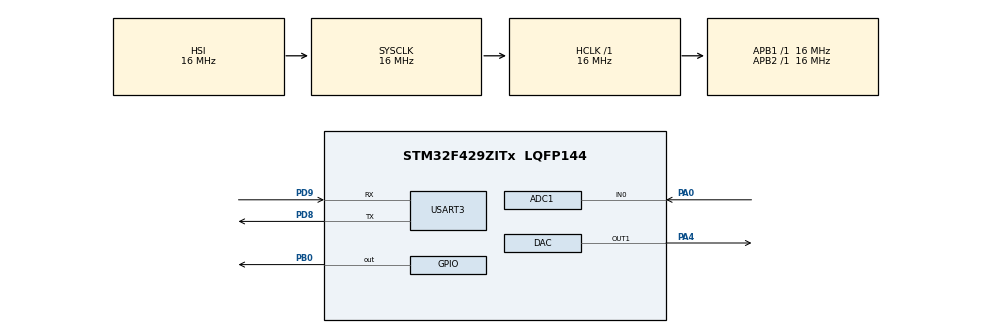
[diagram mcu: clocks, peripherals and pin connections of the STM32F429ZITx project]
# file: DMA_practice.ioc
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ADC1.Channel-0\#ChannelRegularConversion=ADC_CHANNEL_0
ADC1.DMAContinuousRequests=ENABLE
ADC1.ExternalTrigConv=ADC_EXTERNALTRIGCONV_T2_TRGO
ADC1.NbrOfConversionFlag=1
ADC1.Rank-0\#ChannelRegularConversion=1
ADC1.SamplingTime-0\#ChannelRegularConversion=ADC_SAMPLETIME_84CYCLES
ADC1.master=1
DAC.DAC_Trigger=DAC_TRIGGER_T4_TRGO
Dma.ADC1.1.Direction=DMA_PERIPH_TO_MEMORY
Dma.ADC1.1.FIFOMode=DMA_FIFOMODE_DISABLE
Dma.ADC1.1.Instance=DMA2_Stream0
Dma.ADC1.1.MemDataAlignment=DMA_MDATAALIGN_HALFWORD
Dma.ADC1.1.MemInc=DMA_MINC_ENABLE
Dma.ADC1.1.Mode=DMA_NORMAL
Dma.ADC1.1.PeriphDataAlignment=DMA_PDATAALIGN_HALFWORD
Dma.ADC1.1.PeriphInc=DMA_PINC_DISABLE
Dma.ADC1.1.Priority=DMA_PRIORITY_LOW
Dma.DAC1.0.Direction=DMA_MEMORY_TO_PERIPH
Dma.DAC1.0.FIFOMode=DMA_FIFOMODE_DISABLE
Dma.DAC1.0.Instance=DMA1_Stream5
Dma.DAC1.0.MemDataAlignment=DMA_MDATAALIGN_HALFWORD
Dma.DAC1.0.MemInc=DMA_MINC_ENABLE
Dma.DAC1.0.Mode=DMA_NORMAL
Dma.DAC1.0.PeriphDataAlignment=DMA_PDATAALIGN_HALFWORD
Dma.DAC1.0.PeriphInc=DMA_PINC_DISABLE
Dma.DAC1.0.Priority=DMA_PRIORITY_LOW
Dma.Request0=DAC1
Dma.Request1=ADC1
Dma.Request2=USART3_TX
Dma.USART3_TX.2.Direction=DMA_MEMORY_TO_PERIPH
Dma.USART3_TX.2.FIFOMode=DMA_FIFOMODE_DISABLE
Dma.USART3_TX.2.Instance=DMA1_Stream3
Dma.USART3_TX.2.MemDataAlignment=DMA_MDATAALIGN_BYTE
Dma.USART3_TX.2.MemInc=DMA_MINC_ENABLE
Dma.USART3_TX.2.Mode=DMA_NORMAL
Dma.USART3_TX.2.PeriphDataAlignment=DMA_PDATAALIGN_BYTE
Dma.USART3_TX.2.PeriphInc=DMA_PINC_DISABLE
Dma.USART3_TX.2.Priority=DMA_PRIORITY_LOW
Mcu.Family=STM32F4
Mcu.Name=STM32F429ZITx
Mcu.Package=LQFP144
NVIC.DMA1_Stream3_IRQn=true\:0\:0\:false\:false\:true\:false\:true\:true
NVIC.DMA1_Stream5_IRQn=true\:0\:0\:false\:false\:true\:false\:true\:true
NVIC.DMA2_Stream0_IRQn=true\:0\:0\:false\:false\:true\:false\:true\:true
NVIC.PriorityGroup=NVIC_PRIORITYGROUP_4
PA0/WKUP.Signal=ADCx_IN0
PA4.Signal=COMP_DAC1_group
PB0.Signal=GPIO_Output
PD8.Mode=Asynchronous
PD8.Signal=USART3_TX
PD9.Mode=Asynchronous
PD9.Signal=USART3_RX
ProjectManager.HeapSize=0x200
ProjectManager.StackSize=0x400
ProjectManager.TargetToolchain=STM32CubeIDE
RCC.AHBFreq_Value=16000000
RCC.APB1Freq_Value=16000000
RCC.APB2Freq_Value=16000000
RCC.CortexFreq_Value=16000000
RCC.HSE_VALUE=25000000
RCC.HSI_VALUE=16000000
RCC.LSE_VALUE=32768
RCC.SYSCLKFreq_VALUE=16000000
RCC.VCOOutputFreq_Value=192000000
SH.ADCx_IN0.0=ADC1_IN0,IN0
SH.COMP_DAC1_group.0=DAC_OUT1,DAC_OUT1
TIM2.Period=999
TIM2.Prescaler=1
TIM2.TIM_MasterOutputTrigger=TIM_TRGO_UPDATE
TIM4.Period=999
TIM4.Prescaler=1
TIM4.TIM_MasterOutputTrigger=TIM_TRGO_UPDATE
USART3.VirtualMode=VM_ASYNC
VP_TIM2_VS_ClockSourceINT.Mode=Internal
VP_TIM4_VS_ClockSourceINT.Mode=Internal
board=custom

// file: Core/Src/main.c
/* USER CODE BEGIN Header */
/**
  ******************************************************************************
  * @file           : main.c
  * @brief          : Main program body
  ******************************************************************************
  * @attention
  *
  * Copyright (c) 2024 STMicroelectronics.
  * All rights reserved.
  *
  * This software is licensed under terms that can be found in the LICENSE file
  * in the root directory of this software component.
  * If no LICENSE file comes with this software, it is provided AS-IS.
  *
  ******************************************************************************
  */
/* USER CODE END Header */
#include "main.h"

/* USER CODE BEGIN Includes */
// 한국어 주석 테스트
#include "data.h"
/* USER CODE END Includes */

ADC_HandleTypeDef hadc1;
DMA_HandleTypeDef hdma_adc1;

DAC_HandleTypeDef hdac;
DMA_HandleTypeDef hdma_dac1;

TIM_HandleTypeDef htim2;
TIM_HandleTypeDef htim4;

UART_HandleTypeDef huart3;
DMA_HandleTypeDef hdma_usart3_tx;

/* USER CODE BEGIN PV */
static uint16_t openb_index;
/* USER CODE END PV */

void SystemClock_Config(void);
static void MX_GPIO_Init(void);
static void MX_DMA_Init(void);
static void MX_DAC_Init(void);
static void MX_TIM4_Init(void);
static void MX_ADC1_Init(void);
static void MX_TIM2_Init(void);
static void MX_USART3_UART_Init(void);

/* USER CODE BEGIN 0 */
uint32_t buf[8000];
/* USER CODE END 0 */

int main(void)
{

  /* MCU Configuration--------------------------------------------------------*/

  /* Reset of all peripherals, Initializes the Flash interface and the Systick. */
  HAL_Init();

  /* Configure the system clock */
  SystemClock_Config();

  /* Initialize all configured peripherals */
  MX_GPIO_Init();
  MX_DMA_Init();
  MX_DAC_Init();
  MX_TIM4_Init();
  MX_ADC1_Init();
  MX_TIM2_Init();
  MX_USART3_UART_Init();
  /* USER CODE BEGIN 2 */
  memset(buf, 'a', 8000);

  if(openb_index < DATA_NUM) {
	  uint16_t positive_data = (uint16_t)abs(openb[openb_index]);
	  uint16_t dac_data = positive_data>>4;

	  HAL_DAC_SetValue(&hdac, DAC_CHANNEL_1, DAC_ALIGN_12B_R, dac_data);
	  HAL_DAC_Start(&hdac, DAC_CHANNEL_1);
	  openb_index++;
  }

//  for(int i = 0; i < DATA_NUM; i++) {
//	  openb[i] = (openb[i] + 32768) >> 4;
//  }
//  HAL_TIM_Base_Start(&htim4);
//  HAL_DAC_Start(&hdac, DAC_CHANNEL_1);
//  HAL_DAC_Start_DMA(&hdac, DAC_CHANNEL_1, (uint32_t*)&openb, DATA_NUM, DAC_ALIGN_12B_R);

  HAL_TIM_Base_Start(&htim2);
  HAL_ADC_Start_DMA(&hadc1, buf, 8000);
  HAL_UART_Transmit_DMA(&huart3, (uint8_t*)&buf, 8000);
  /* USER CODE END 2 */

  /* Infinite loop */
  while (1)
  {

    /* USER CODE BEGIN 3 */
	  //HAL_UART_Transmit_DMA(&huart3, buf, 10000);
	  //HAL_GPIO_TogglePin(GPIOB, GPIO_PIN_0);
  }
  /* USER CODE END 3 */
}

void SystemClock_Config(void)
{
  RCC_OscInitTypeDef RCC_OscInitStruct = {0};
  RCC_ClkInitTypeDef RCC_ClkInitStruct = {0};

  /** Configure the main internal regulator output voltage
  */
  __HAL_RCC_PWR_CLK_ENABLE();
  __HAL_PWR_VOLTAGESCALING_CONFIG(PWR_REGULATOR_VOLTAGE_SCALE3);

  /** Initializes the RCC Oscillators according to the specified parameters
  * in the RCC_OscInitTypeDef structure.
  */
  RCC_OscInitStruct.OscillatorType = RCC_OSCILLATORTYPE_HSI;
  RCC_OscInitStruct.HSIState = RCC_HSI_ON;
  RCC_OscInitStruct.HSICalibrationValue = RCC_HSICALIBRATION_DEFAULT;
  RCC_OscInitStruct.PLL.PLLState = RCC_PLL_NONE;
  if (HAL_RCC_OscConfig(&RCC_OscInitStruct) != HAL_OK)
  {
    Error_Handler();
  }

  /** Initializes the CPU, AHB and APB buses clocks
  */
  RCC_ClkInitStruct.ClockType = RCC_CLOCKTYPE_HCLK|RCC_CLOCKTYPE_SYSCLK
                              |RCC_CLOCKTYPE_PCLK1|RCC_CLOCKTYPE_PCLK2;
  RCC_ClkInitStruct.SYSCLKSource = RCC_SYSCLKSOURCE_HSI;
  RCC_ClkInitStruct.AHBCLKDivider = RCC_SYSCLK_DIV1;
  RCC_ClkInitStruct.APB1CLKDivider = RCC_HCLK_DIV1;
  RCC_ClkInitStruct.APB2CLKDivider = RCC_HCLK_DIV1;

  if (HAL_RCC_ClockConfig(&RCC_ClkInitStruct, FLASH_LATENCY_0) != HAL_OK)
  {
    Error_Handler();
  }
}

static void MX_ADC1_Init(void)
{

  ADC_ChannelConfTypeDef sConfig = {0};

  /** Configure the global features of the ADC (Clock, Resolution, Data Alignment and number of conversion)
  */
  hadc1.Instance = ADC1;
  hadc1.Init.ClockPrescaler = ADC_CLOCK_SYNC_PCLK_DIV2;
  hadc1.Init.Resolution = ADC_RESOLUTION_12B;
  hadc1.Init.ScanConvMode = DISABLE;
  hadc1.Init.ContinuousConvMode = DISABLE;
  hadc1.Init.DiscontinuousConvMode = DISABLE;
  hadc1.Init.ExternalTrigConvEdge = ADC_EXTERNALTRIGCONVEDGE_RISING;
  hadc1.Init.ExternalTrigConv = ADC_EXTERNALTRIGCONV_T2_TRGO;
  hadc1.Init.DataAlign = ADC_DATAALIGN_RIGHT;
  hadc1.Init.NbrOfConversion = 1;
  hadc1.Init.DMAContinuousRequests = ENABLE;
  hadc1.Init.EOCSelection = ADC_EOC_SINGLE_CONV;
  if (HAL_ADC_Init(&hadc1) != HAL_OK)
  {
    Error_Handler();
  }

  /** Configure for the selected ADC regular channel its corresponding rank in the sequencer and its sample time.
  */
  sConfig.Channel = ADC_CHANNEL_0;
  sConfig.Rank = 1;
  sConfig.SamplingTime = ADC_SAMPLETIME_84CYCLES;
  if (HAL_ADC_ConfigChannel(&hadc1, &sConfig) != HAL_OK)
  {
    Error_Handler();
  }

}

static void MX_DAC_Init(void)
{

  DAC_ChannelConfTypeDef sConfig = {0};

  /** DAC Initialization
  */
  hdac.Instance = DAC;
  if (HAL_DAC_Init(&hdac) != HAL_OK)
  {
    Error_Handler();
  }

  /** DAC channel OUT1 config
  */
  sConfig.DAC_Trigger = DAC_TRIGGER_T4_TRGO;
  sConfig.DAC_OutputBuffer = DAC_OUTPUTBUFFER_ENABLE;
  if (HAL_DAC_ConfigChannel(&hdac, &sConfig, DAC_CHANNEL_1) != HAL_OK)
  {
    Error_Handler();
  }

}

static void MX_TIM2_Init(void)
{

  TIM_ClockConfigTypeDef sClockSourceConfig = {0};
  TIM_MasterConfigTypeDef sMasterConfig = {0};

  htim2.Instance = TIM2;
  htim2.Init.Prescaler = 1;
  htim2.Init.CounterMode = TIM_COUNTERMODE_UP;
  htim2.Init.Period = 999;
  htim2.Init.ClockDivision = TIM_CLOCKDIVISION_DIV1;
  htim2.Init.AutoReloadPreload = TIM_AUTORELOAD_PRELOAD_DISABLE;
  if (HAL_TIM_Base_Init(&htim2) != HAL_OK)
  {
    Error_Handler();
  }
  sClockSourceConfig.ClockSource = TIM_CLOCKSOURCE_INTERNAL;
  if (HAL_TIM_ConfigClockSource(&htim2, &sClockSourceConfig) != HAL_OK)
  {
    Error_Handler();
  }
  sMasterConfig.MasterOutputTrigger = TIM_TRGO_UPDATE;
  sMasterConfig.MasterSlaveMode = TIM_MASTERSLAVEMODE_DISABLE;
  if (HAL_TIMEx_MasterConfigSynchronization(&htim2, &sMasterConfig) != HAL_OK)
  {
    Error_Handler();
  }

}

static void MX_TIM4_Init(void)
{

  TIM_ClockConfigTypeDef sClockSourceConfig = {0};
  TIM_MasterConfigTypeDef sMasterConfig = {0};

  htim4.Instance = TIM4;
  htim4.Init.Prescaler = 1;
  htim4.Init.CounterMode = TIM_COUNTERMODE_UP;
  htim4.Init.Period = 999;
  htim4.Init.ClockDivision = TIM_CLOCKDIVISION_DIV1;
  htim4.Init.AutoReloadPreload = TIM_AUTORELOAD_PRELOAD_DISABLE;
  if (HAL_TIM_Base_Init(&htim4) != HAL_OK)
  {
    Error_Handler();
  }
  sClockSourceConfig.ClockSource = TIM_CLOCKSOURCE_INTERNAL;
  if (HAL_TIM_ConfigClockSource(&htim4, &sClockSourceConfig) != HAL_OK)
  {
    Error_Handler();
  }
  sMasterConfig.MasterOutputTrigger = TIM_TRGO_UPDATE;
  sMasterConfig.MasterSlaveMode = TIM_MASTERSLAVEMODE_DISABLE;
  if (HAL_TIMEx_MasterConfigSynchronization(&htim4, &sMasterConfig) != HAL_OK)
  {
    Error_Handler();
  }

}

static void MX_USART3_UART_Init(void)
{

  huart3.Instance = USART3;
  huart3.Init.BaudRate = 115200;
  huart3.Init.WordLength = UART_WORDLENGTH_8B;
  huart3.Init.StopBits = UART_STOPBITS_1;
  huart3.Init.Parity = UART_PARITY_NONE;
  huart3.Init.Mode = UART_MODE_TX_RX;
  huart3.Init.HwFlowCtl = UART_HWCONTROL_NONE;
  huart3.Init.OverSampling = UART_OVERSAMPLING_16;
  if (HAL_UART_Init(&huart3) != HAL_OK)
  {
    Error_Handler();
  }

}

static void MX_DMA_Init(void)
{

  /* DMA controller clock enable */
  __HAL_RCC_DMA1_CLK_ENABLE();
  __HAL_RCC_DMA2_CLK_ENABLE();

  /* DMA interrupt init */
  /* DMA1_Stream3_IRQn interrupt configuration */
  HAL_NVIC_SetPriority(DMA1_Stream3_IRQn, 0, 0);
  HAL_NVIC_EnableIRQ(DMA1_Stream3_IRQn);
  /* DMA1_Stream5_IRQn interrupt configuration */
  HAL_NVIC_SetPriority(DMA1_Stream5_IRQn, 0, 0);
  HAL_NVIC_EnableIRQ(DMA1_Stream5_IRQn);
  /* DMA2_Stream0_IRQn interrupt configuration */
  HAL_NVIC_SetPriority(DMA2_Stream0_IRQn, 0, 0);
  HAL_NVIC_EnableIRQ(DMA2_Stream0_IRQn);

}

static void MX_GPIO_Init(void)
{
  GPIO_InitTypeDef GPIO_InitStruct = {0};

  /* GPIO Ports Clock Enable */
  __HAL_RCC_GPIOA_CLK_ENABLE();
  __HAL_RCC_GPIOB_CLK_ENABLE();
  __HAL_RCC_GPIOD_CLK_ENABLE();

  /*Configure GPIO pin Output Level */
  HAL_GPIO_WritePin(GPIOB, GPIO_PIN_0, GPIO_PIN_RESET);

  /*Configure GPIO pin : PB0 */
  GPIO_InitStruct.Pin = GPIO_PIN_0;
  GPIO_InitStruct.Mode = GPIO_MODE_OUTPUT_PP;
  GPIO_InitStruct.Pull = GPIO_NOPULL;
  GPIO_InitStruct.Speed = GPIO_SPEED_FREQ_LOW;
  HAL_GPIO_Init(GPIOB, &GPIO_InitStruct);

}

/* USER CODE BEGIN 4 */
void HAL_ADC_ConvCpltCallback(ADC_HandleTypeDef* hadc){
	HAL_UART_Transmit_DMA(&huart3, (uint8_t *)buf, 8000);
	HAL_ADC_Start_DMA(&hadc1, buf, 8000);
	HAL_GPIO_TogglePin(GPIOB, GPIO_PIN_0);
}
/* USER CODE END 4 */

void Error_Handler(void)
{
  __disable_irq();
  while (1)
  {
  }
}
